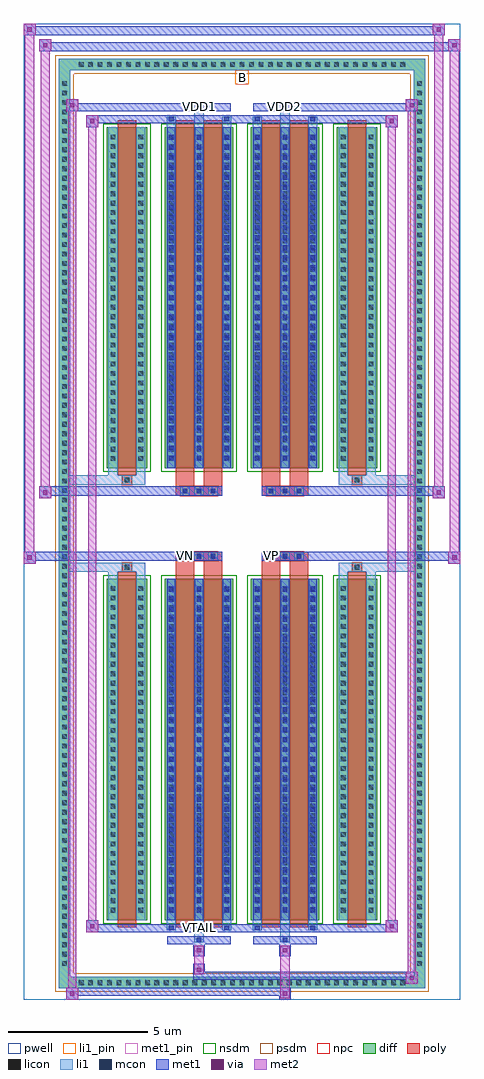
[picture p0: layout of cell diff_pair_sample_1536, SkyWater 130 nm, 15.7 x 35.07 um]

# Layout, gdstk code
import gdstk
lib = gdstk.Library(unit=1e-6, precision=5e-09)
def R(c, l, rs):  # rectangles x0, y0, x1, y1
    for r in rs: c.add(gdstk.rectangle(r[:2], r[2:], *l))
def A(c, l, x, y, w, h, nx, ny, dx, dy):  # array of equal rectangles
    R(c, l, [(x+i*dx, y+j*dy, x+i*dx+w, y+j*dy+h) for i in range(nx) for j in range(ny)])
def P(c, l, *ps):  # polygons
    for p in ps: c.add(gdstk.Polygon(p, *l))
pwell = (64, 44)
diff = (65, 20)
poly = (66, 20)
licon = (66, 44)
li1_pin = (67, 16)
li1 = (67, 20)
mcon = (67, 44)
met1_pin = (68, 16)
met1 = (68, 20)
via = (68, 44)
met2 = (69, 20)
nsdm = (93, 44)
psdm = (94, 20)
npc = (95, 20)

diff_pair_sample_1536 = lib.new_cell('diff_pair_sample_1536')
R(diff_pair_sample_1536, pwell, [(-7.85,-17.1,7.85,17.97), (-5.17,-15.29,-0.01,-0.805), (0.01,-15.29,5.17,-0.805), (-5.17,0.805,-0.01,15.29), (0.01,0.805,5.17,15.29)])
A(diff_pair_sample_1536, diff, -5.985, -16.7, 0.41, 0.41, 35, 2, 0.34, 32.99)
A(diff_pair_sample_1536, diff, -6.58, -16.015, 0.41, 0.41, 1, 94, 0, 0.34)
A(diff_pair_sample_1536, diff, 6.17, -16.015, 0.41, 0.41, 1, 94, 0, 0.34)
R(diff_pair_sample_1536, diff, [(-5.985,-16.7,5.985,-16.29), (-6.58,-16.015,-6.17,16.015), (6.17,-16.015,6.58,16.015), (-4.86,-14.245,-3.41,-1.985), (-2.77,-14.245,-0.32,-1.985), (0.32,-14.245,2.77,-1.985), (3.41,-14.245,4.86,-1.985), (-4.86,1.985,-3.41,14.245), (-2.77,1.985,-0.32,14.245), (0.32,1.985,2.77,14.245), (3.41,1.985,4.86,14.245), (-5.985,16.29,5.985,16.7)])
P(diff_pair_sample_1536, diff, [(6.58,16.7),(-6.58,16.7),(-6.58,-16.29),(-6.17,-16.29),(-6.17,16.29),(6.17,16.29),(6.17,-16.29),(-6.17,-16.29),(-6.58,-16.29),(-6.58,-16.7),(6.58,-16.7)])
A(diff_pair_sample_1536, poly, -2.21, -1.335, 0.33, 0.33, 3, 2, 0.5, 2.34)
A(diff_pair_sample_1536, poly, 0.88, -1.335, 0.33, 0.33, 3, 2, 0.5, 2.34)
R(diff_pair_sample_1536, poly, [(-4.47,-14.495,-3.8,-1.735), (-2.38,-14.495,-1.71,-1.735), (-1.38,-14.495,-0.71,-1.735), (0.71,-14.495,1.38,-1.735), (1.71,-14.495,2.38,-1.735), (3.8,-14.495,4.47,-1.735), (-4.3,-1.735,-3.97,-1.405), (-4.3,-1.735,-3.97,-1.405), (-2.38,-1.735,-1.71,-1.335), (-1.38,-1.735,-0.71,-1.335), (0.71,-1.735,1.38,-1.335), (1.71,-1.735,2.38,-1.335), (3.97,-1.735,4.3,-1.405), (3.97,-1.735,4.3,-1.405), (-2.38,-1.335,-0.71,-1.005), (0.71,-1.335,2.38,-1.005), (-2.38,1.005,-0.71,1.335), (0.71,1.005,2.38,1.335), (-2.38,1.335,-1.71,1.735), (-1.38,1.335,-0.71,1.735), (0.71,1.335,1.38,1.735), (1.71,1.335,2.38,1.735), (-4.3,1.405,-3.97,1.735), (-4.3,1.405,-3.97,1.735), (3.97,1.405,4.3,1.735), (3.97,1.405,4.3,1.735), (-4.47,1.735,-3.8,14.495), (-2.38,1.735,-1.71,14.495), (-1.38,1.735,-0.71,14.495), (0.71,1.735,1.38,14.495), (1.71,1.735,2.38,14.495), (3.8,1.735,4.47,14.495)])
A(diff_pair_sample_1536, licon, -5.865, -16.58, 0.17, 0.17, 35, 2, 0.34, 32.99)
A(diff_pair_sample_1536, licon, -6.46, -15.895, 0.17, 0.17, 1, 94, 0, 0.34)
A(diff_pair_sample_1536, licon, 6.29, -15.895, 0.17, 0.17, 1, 94, 0, 0.34)
A(diff_pair_sample_1536, licon, -4.72, -13.98, 0.17, 0.17, 1, 35, 0, 0.34)
A(diff_pair_sample_1536, licon, -3.72, -13.98, 0.17, 0.17, 1, 35, 0, 0.34)
A(diff_pair_sample_1536, licon, -2.63, -13.98, 0.17, 0.17, 3, 35, 1, 0.34)
A(diff_pair_sample_1536, licon, 0.46, -13.98, 0.17, 0.17, 3, 35, 1, 0.34)
A(diff_pair_sample_1536, licon, 3.55, -13.98, 0.17, 0.17, 1, 35, 0, 0.34)
A(diff_pair_sample_1536, licon, 4.55, -13.98, 0.17, 0.17, 1, 35, 0, 0.34)
A(diff_pair_sample_1536, licon, -2.13, -1.255, 0.17, 0.17, 3, 2, 0.5, 2.34)
A(diff_pair_sample_1536, licon, 0.96, -1.255, 0.17, 0.17, 3, 2, 0.5, 2.34)
A(diff_pair_sample_1536, licon, -4.72, 2.25, 0.17, 0.17, 1, 35, 0, 0.34)
A(diff_pair_sample_1536, licon, -3.72, 2.25, 0.17, 0.17, 1, 35, 0, 0.34)
A(diff_pair_sample_1536, licon, -2.63, 2.25, 0.17, 0.17, 3, 35, 1, 0.34)
A(diff_pair_sample_1536, licon, 0.46, 2.25, 0.17, 0.17, 3, 35, 1, 0.34)
A(diff_pair_sample_1536, licon, 3.55, 2.25, 0.17, 0.17, 1, 35, 0, 0.34)
A(diff_pair_sample_1536, licon, 4.55, 2.25, 0.17, 0.17, 1, 35, 0, 0.34)
R(diff_pair_sample_1536, licon, [(-4.22,-1.655,-4.05,-1.485), (4.05,-1.655,4.22,-1.485), (-4.22,1.485,-4.05,1.655), (4.05,1.485,4.22,1.655)])
R(diff_pair_sample_1536, li1_pin, [(-0.25,15.79,0.25,16.29)])
A(diff_pair_sample_1536, li1, -5.945, -16.66, 0.33, 0.33, 35, 2, 0.34, 32.99)
A(diff_pair_sample_1536, li1, -6.54, -15.975, 0.33, 0.33, 1, 94, 0, 0.34)
A(diff_pair_sample_1536, li1, 6.21, -15.975, 0.33, 0.33, 1, 94, 0, 0.34)
A(diff_pair_sample_1536, li1, -2.71, -14.245, 0.33, 12.26, 3, 2, 1, 16.23)
A(diff_pair_sample_1536, li1, 0.38, -14.245, 0.33, 12.26, 3, 2, 1, 16.23)
A(diff_pair_sample_1536, li1, -4.8, -14.06, 0.33, 0.33, 1, 35, 0, 0.34)
A(diff_pair_sample_1536, li1, -3.8, -14.06, 0.33, 0.33, 1, 35, 0, 0.34)
A(diff_pair_sample_1536, li1, -2.71, -14.06, 0.33, 0.33, 3, 35, 1, 0.34)
A(diff_pair_sample_1536, li1, 0.38, -14.06, 0.33, 0.33, 3, 35, 1, 0.34)
A(diff_pair_sample_1536, li1, 3.47, -14.06, 0.33, 0.33, 1, 35, 0, 0.34)
A(diff_pair_sample_1536, li1, 4.47, -14.06, 0.33, 0.33, 1, 35, 0, 0.34)
A(diff_pair_sample_1536, li1, -2.63, -13.96, 0.17, 0.17, 3, 33, 1, 0.36)
A(diff_pair_sample_1536, li1, -2.63, -13.96, 0.17, 11.69, 3, 2, 1, 16.23)
A(diff_pair_sample_1536, li1, 0.46, -13.96, 0.17, 0.17, 3, 33, 1, 0.36)
A(diff_pair_sample_1536, li1, 0.46, -13.96, 0.17, 11.69, 3, 2, 1, 16.23)
A(diff_pair_sample_1536, li1, -2.21, -1.335, 0.33, 0.33, 3, 2, 0.5, 2.34)
A(diff_pair_sample_1536, li1, 0.88, -1.335, 0.33, 0.33, 3, 2, 0.5, 2.34)
A(diff_pair_sample_1536, li1, -4.8, 2.17, 0.33, 0.33, 1, 35, 0, 0.34)
A(diff_pair_sample_1536, li1, -3.8, 2.17, 0.33, 0.33, 1, 35, 0, 0.34)
A(diff_pair_sample_1536, li1, -2.71, 2.17, 0.33, 0.33, 3, 35, 1, 0.34)
A(diff_pair_sample_1536, li1, 0.38, 2.17, 0.33, 0.33, 3, 35, 1, 0.34)
A(diff_pair_sample_1536, li1, 3.47, 2.17, 0.33, 0.33, 1, 35, 0, 0.34)
A(diff_pair_sample_1536, li1, 4.47, 2.17, 0.33, 0.33, 1, 35, 0, 0.34)
A(diff_pair_sample_1536, li1, -2.63, 2.27, 0.17, 0.17, 3, 33, 1, 0.36)
A(diff_pair_sample_1536, li1, 0.46, 2.27, 0.17, 0.17, 3, 33, 1, 0.36)
R(diff_pair_sample_1536, li1, [(-6.58,-16.7,-6.17,-16.29), (-6.58,-16.7,-6.17,-16.29), (-6.17,-16.7,6.17,-16.29), (6.17,-16.7,6.58,-16.29), (6.17,-16.7,6.58,-16.29), (-6.58,-16.29,-6.17,16.29), (6.17,-16.29,6.58,16.29), (-1.71,-15.05,-1.38,-14.245), (-1.63,-15.05,-1.46,-14.88), (1.38,-15.05,1.71,-14.245), (1.46,-15.05,1.63,-14.88), (-2.71,-14.62,-2.38,-14.245), (-2.63,-14.62,-2.46,-14.45), (-0.71,-14.62,-0.38,-14.245), (-0.63,-14.62,-0.46,-14.45), (0.38,-14.62,0.71,-14.245), (0.46,-14.62,0.63,-14.45), (2.38,-14.62,2.71,-14.245), (2.46,-14.62,2.63,-14.45), (-4.8,-14.245,-4.47,-1.985), (-3.8,-14.245,-3.47,-1.985), (3.47,-14.245,3.8,-1.985), (4.47,-14.245,4.8,-1.985), (-4.8,-1.985,-4.47,-1.405), (-3.8,-1.985,-3.47,-1.405), (3.47,-1.985,3.8,-1.405), (4.47,-1.985,4.8,-1.405), (-6.58,-1.735,-4.3,-1.405), (-4.8,-1.735,-4.3,-1.405), (-4.3,-1.735,-3.97,-1.405), (-3.97,-1.735,-3.47,-1.405), (3.47,-1.735,3.97,-1.405), (3.97,-1.735,4.3,-1.405), (3.97,-1.735,6.58,-1.405), (4.3,-1.735,4.8,-1.405), (-6.58,1.405,-4.3,1.735), (-4.8,1.405,-4.3,1.735), (-4.8,1.405,-4.47,1.985), (-4.3,1.405,-3.97,1.735), (-3.97,1.405,-3.47,1.735), (-3.8,1.405,-3.47,1.985), (3.47,1.405,3.97,1.735), (3.47,1.405,3.8,1.985), (3.97,1.405,4.3,1.735), (3.97,1.405,6.58,1.735), (4.3,1.405,4.8,1.735), (4.47,1.405,4.8,1.985), (-4.8,1.985,-4.47,14.245), (-3.8,1.985,-3.47,14.245), (3.47,1.985,3.8,14.245), (4.47,1.985,4.8,14.245), (-2.71,14.245,-2.38,14.62), (-1.71,14.245,-1.38,15.05), (-0.71,14.245,-0.38,14.62), (0.38,14.245,0.71,14.62), (1.38,14.245,1.71,15.05), (2.38,14.245,2.71,14.62), (-2.63,14.45,-2.46,14.62), (-0.63,14.45,-0.46,14.62), (0.46,14.45,0.63,14.62), (2.46,14.45,2.63,14.62), (-1.63,14.88,-1.46,15.05), (1.46,14.88,1.63,15.05), (-6.58,16.29,-6.17,16.7), (-6.58,16.29,-6.17,16.7), (-6.17,16.29,6.17,16.7), (6.17,16.29,6.58,16.7), (6.17,16.29,6.58,16.7)])
A(diff_pair_sample_1536, mcon, -2.63, -13.96, 0.17, 0.17, 3, 33, 1, 0.36)
A(diff_pair_sample_1536, mcon, 0.46, -13.96, 0.17, 0.17, 3, 33, 1, 0.36)
A(diff_pair_sample_1536, mcon, -2.13, -1.255, 0.17, 0.17, 3, 2, 0.5, 2.34)
A(diff_pair_sample_1536, mcon, 0.96, -1.255, 0.17, 0.17, 3, 2, 0.5, 2.34)
A(diff_pair_sample_1536, mcon, -2.63, 2.27, 0.17, 0.17, 3, 33, 1, 0.36)
A(diff_pair_sample_1536, mcon, 0.46, 2.27, 0.17, 0.17, 3, 33, 1, 0.36)
R(diff_pair_sample_1536, mcon, [(-1.63,-15.05,-1.46,-14.88), (1.46,-15.05,1.63,-14.88), (-2.63,-14.62,-2.46,-14.45), (-0.63,-14.62,-0.46,-14.45), (0.46,-14.62,0.63,-14.45), (2.46,-14.62,2.63,-14.45), (-2.63,14.45,-2.46,14.62), (-0.63,14.45,-0.46,14.62), (0.46,14.45,0.63,14.62), (2.46,14.45,2.63,14.62), (-1.63,14.88,-1.46,15.05), (1.46,14.88,1.63,15.05)])
R(diff_pair_sample_1536, met1_pin, [(-1.68,-14.66,-1.41,-14.39), (-2.18,-1.295,-1.91,-1.025), (0.91,-1.295,1.18,-1.025), (-1.68,14.84,-1.41,15.11), (1.41,14.84,1.68,15.11)])
A(diff_pair_sample_1536, met1, -2.69, -14.245, 0.29, 12.26, 3, 2, 1, 16.23)
A(diff_pair_sample_1536, met1, 0.4, -14.245, 0.29, 12.26, 3, 2, 1, 16.23)
A(diff_pair_sample_1536, met1, -2.69, -14.02, 0.29, 0.29, 3, 33, 1, 0.36)
A(diff_pair_sample_1536, met1, 0.4, -14.02, 0.29, 0.29, 3, 33, 1, 0.36)
A(diff_pair_sample_1536, met1, -2.19, -1.315, 0.29, 0.29, 3, 2, 0.5, 2.34)
A(diff_pair_sample_1536, met1, 0.9, -1.315, 0.29, 0.29, 3, 2, 0.5, 2.34)
A(diff_pair_sample_1536, met1, -2.69, 2.21, 0.29, 0.29, 3, 33, 1, 0.36)
A(diff_pair_sample_1536, met1, 0.4, 2.21, 0.29, 0.29, 3, 33, 1, 0.36)
R(diff_pair_sample_1536, met1, [(-6.31,-17.1,-5.88,-16.67), (1.33,-17.1,1.76,-16.67), (-6.31,-16.96,1.76,-16.67), (5.88,-16.53,6.31,-16.1), (-1.76,-16.39,6.31,-16.1), (-1.76,-16.25,-1.33,-15.82), (-1.76,-15.54,-1.33,-15.11), (1.33,-15.54,1.76,-15.11), (-2.69,-15.11,-0.4,-14.82), (-1.69,-15.11,-1.4,-14.82), (0.4,-15.11,2.69,-14.82), (1.4,-15.11,1.69,-14.82), (-5.6,-14.68,-5.17,-14.25), (-5.6,-14.68,-2.69,-14.39), (-2.69,-14.68,-2.4,-14.39), (-2.69,-14.68,-0.4,-14.39), (-0.69,-14.68,-0.4,-14.39), (-0.4,-14.68,0.4,-14.39), (0.4,-14.68,0.69,-14.39), (0.4,-14.68,2.69,-14.39), (2.4,-14.68,2.69,-14.39), (2.69,-14.68,5.6,-14.39), (5.17,-14.68,5.6,-14.25), (-7.85,-1.435,-7.42,-1.005), (7.42,-1.435,7.85,-1.005), (-7.85,-1.335,-0.71,-1.005), (-2.38,-1.335,-0.71,-1.005), (0.71,-1.335,2.38,-1.005), (0.71,-1.335,7.85,-1.005), (-7.28,0.905,-6.85,1.335), (6.85,0.905,7.28,1.335), (-7.28,1.005,-2.38,1.335), (-2.38,1.005,-0.71,1.335), (0.71,1.005,2.38,1.335), (2.38,1.005,7.28,1.335), (-5.6,14.25,-5.17,14.68), (5.17,14.25,5.6,14.68), (-5.6,14.39,-2.69,14.68), (-2.69,14.39,-2.4,14.68), (-2.69,14.39,-0.4,14.68), (-0.69,14.39,-0.4,14.68), (-0.4,14.39,0.4,14.68), (0.4,14.39,0.69,14.68), (0.4,14.39,2.69,14.68), (2.4,14.39,2.69,14.68), (2.69,14.39,5.6,14.68), (-6.31,14.82,-5.88,15.25), (-6.31,14.82,-2.69,15.11), (-2.69,14.82,-0.4,15.11), (-1.69,14.82,-1.4,15.11), (0.4,14.82,2.69,15.11), (1.4,14.82,1.69,15.11), (2.69,14.82,6.31,15.11), (5.88,14.82,6.31,15.25), (-7.28,16.97,-6.85,17.4), (-7.28,16.97,-5.17,17.3), (-5.17,16.97,5.17,17.3), (5.17,16.97,7.85,17.3), (7.42,16.97,7.85,17.4), (-7.85,17.54,-7.42,17.97), (-7.85,17.54,-5.17,17.87), (-5.17,17.54,5.17,17.87), (5.17,17.54,7.28,17.87), (6.85,17.54,7.28,17.97)])
R(diff_pair_sample_1536, via, [(-6.17,-16.96,-6.02,-16.81), (1.47,-16.96,1.62,-16.81), (6.02,-16.39,6.17,-16.24), (-1.62,-16.11,-1.47,-15.96), (-1.62,-15.4,-1.47,-15.25), (1.47,-15.4,1.62,-15.25), (-5.46,-14.54,-5.31,-14.39), (5.31,-14.54,5.46,-14.39), (-7.71,-1.295,-7.56,-1.145), (7.56,-1.295,7.71,-1.145), (-7.14,1.045,-6.99,1.195), (6.99,1.045,7.14,1.195), (-5.46,14.39,-5.31,14.54), (5.31,14.39,5.46,14.54), (-6.17,14.96,-6.02,15.11), (6.02,14.96,6.17,15.11), (-7.14,17.11,-6.99,17.26), (7.56,17.11,7.71,17.26), (-7.71,17.68,-7.56,17.83), (6.99,17.68,7.14,17.83)])
R(diff_pair_sample_1536, met2, [(-6.31,-17.1,-5.88,-16.67), (-6.24,-17.1,-5.95,15.25), (-5.95,-17.1,-5.88,-16.67), (-6.26,-17.05,-5.93,-16.72), (1.38,-17.05,1.71,-16.72), (1.38,-16.72,1.71,-15.49), (5.88,-16.53,6.31,-16.1), (5.95,-16.53,6.24,15.25), (6.24,-16.53,6.31,-16.1), (5.93,-16.48,6.26,-16.15), (-1.71,-16.2,-1.38,-15.87), (-1.71,-15.87,-1.38,-15.49), (-1.71,-15.49,-1.38,-15.16), (1.38,-15.49,1.71,-15.16), (-5.6,-14.68,-5.17,-14.25), (-5.53,-14.68,-5.24,14.68), (-5.24,-14.68,-5.17,-14.25), (5.17,-14.68,5.6,-14.25), (5.24,-14.68,5.53,14.68), (5.53,-14.68,5.6,-14.25), (-5.55,-14.63,-5.22,-14.3), (5.22,-14.63,5.55,-14.3), (-7.85,-1.435,-7.42,-1.005), (-7.8,-1.435,-7.47,17.97), (-7.47,-1.435,-7.42,-1.005), (7.42,-1.435,7.85,-1.005), (7.47,-1.435,7.8,17.4), (7.8,-1.435,7.85,-1.005), (-7.8,-1.385,-7.47,-1.055), (7.47,-1.385,7.8,-1.055), (-7.28,0.905,-6.85,1.335), (-7.23,0.905,-6.9,17.4), (-6.9,0.905,-6.85,1.335), (6.85,0.905,7.28,1.335), (6.9,0.905,7.23,17.97), (7.23,0.905,7.28,1.335), (-7.23,0.955,-6.9,1.285), (6.9,0.955,7.23,1.285), (-5.6,14.25,-5.17,14.68), (-5.24,14.25,-5.17,14.68), (5.17,14.25,5.6,14.68), (5.53,14.25,5.6,14.68), (-5.55,14.3,-5.22,14.63), (5.22,14.3,5.55,14.63), (-6.31,14.82,-5.88,15.25), (-5.95,14.82,-5.88,15.25), (5.88,14.82,6.31,15.25), (6.24,14.82,6.31,15.25), (-6.26,14.87,-5.93,15.2), (5.93,14.87,6.26,15.2), (-7.28,16.97,-6.85,17.4), (-6.9,16.97,-6.85,17.4), (7.42,16.97,7.85,17.4), (7.8,16.97,7.85,17.4), (-7.23,17.02,-6.9,17.35), (7.47,17.02,7.8,17.35), (-7.85,17.54,-7.42,17.97), (-7.47,17.54,-7.42,17.97), (6.85,17.54,7.28,17.97), (7.23,17.54,7.28,17.97), (-7.8,17.59,-7.47,17.92), (6.9,17.59,7.23,17.92)])
R(diff_pair_sample_1536, nsdm, [(-4.99,-14.375,-3.28,-1.855), (-2.9,-14.375,-0.19,-1.855), (0.19,-14.375,2.9,-1.855), (3.28,-14.375,4.99,-1.855), (-4.99,1.855,-3.28,14.375), (-2.9,1.855,-0.19,14.375), (0.19,1.855,2.9,14.375), (3.28,1.855,4.99,14.375)])
P(diff_pair_sample_1536, psdm, [(6.71,16.83),(-6.71,16.83),(-6.71,-16.16),(-6.04,-16.16),(-6.04,16.16),(6.04,16.16),(6.04,-16.16),(-6.04,-16.16),(-6.71,-16.16),(-6.71,-16.83),(6.71,-16.83)])
A(diff_pair_sample_1536, npc, -2.23, -1.355, 0.37, 0.37, 3, 2, 0.5, 2.34)
A(diff_pair_sample_1536, npc, 0.86, -1.355, 0.37, 0.37, 3, 2, 0.5, 2.34)
R(diff_pair_sample_1536, npc, [(-4.32,-1.755,-3.95,-1.385), (3.95,-1.755,4.32,-1.385), (-2.23,-1.355,-1.36,-0.985), (-2.23,-1.355,-1.36,-0.985), (-1.73,-1.355,-0.86,-0.985), (-1.73,-1.355,-0.86,-0.985), (0.86,-1.355,1.73,-0.985), (0.86,-1.355,1.73,-0.985), (1.36,-1.355,2.23,-0.985), (1.36,-1.355,2.23,-0.985), (-2.23,0.985,-1.36,1.355), (-2.23,0.985,-1.36,1.355), (-1.73,0.985,-0.86,1.355), (-1.73,0.985,-0.86,1.355), (0.86,0.985,1.73,1.355), (0.86,0.985,1.73,1.355), (1.36,0.985,2.23,1.355), (1.36,0.985,2.23,1.355), (-4.32,1.385,-3.95,1.755), (3.95,1.385,4.32,1.755)])
diff_pair_sample_1536.add(gdstk.Label('VTAIL', (-1.545,-14.525), layer=68, texttype=5))
diff_pair_sample_1536.add(gdstk.Label('VN', (-2.045,-1.16), layer=68, texttype=5))
diff_pair_sample_1536.add(gdstk.Label('VP', (1.045,-1.16), layer=68, texttype=5))
diff_pair_sample_1536.add(gdstk.Label('B', (0,16.04), layer=67, texttype=5))
diff_pair_sample_1536.add(gdstk.Label('VDD2', (1.545,14.975), layer=68, texttype=5))
diff_pair_sample_1536.add(gdstk.Label('VDD1', (-1.545,14.975), layer=68, texttype=5))

lib.write_gds('diff_pair_sample_1536.gds')
